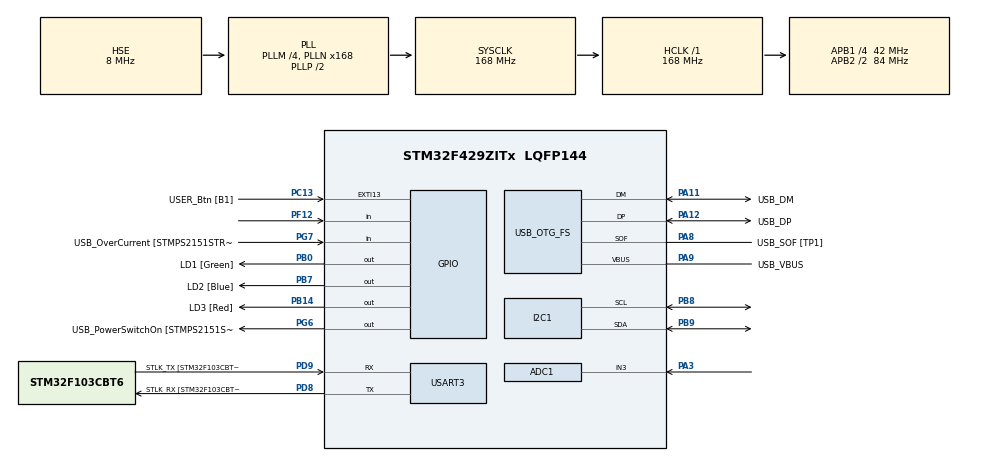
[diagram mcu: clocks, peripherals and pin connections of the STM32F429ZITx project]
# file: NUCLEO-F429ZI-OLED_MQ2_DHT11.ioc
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ADC1.Channel-0\#ChannelRegularConversion=ADC_CHANNEL_3
ADC1.ContinuousConvMode=ENABLE
ADC1.NbrOfConversionFlag=1
ADC1.Rank-0\#ChannelRegularConversion=1
ADC1.SamplingTime-0\#ChannelRegularConversion=ADC_SAMPLETIME_3CYCLES
ADC1.ScanConvMode=ENABLE
ADC1.master=1
FREERTOS.Tasks01=defaultTask,24,128,StartDefaultTask,Default,NULL,Dynamic,NULL,NULL
I2C1.I2C_Mode=I2C_Fast
Mcu.Family=STM32F4
Mcu.Name=STM32F429ZITx
Mcu.Package=LQFP144
NVIC.PriorityGroup=NVIC_PRIORITYGROUP_4
NVIC.TIM1_UP_TIM10_IRQn=true\:15\:0\:false\:false\:true\:false\:false\:true\:true
NVIC.TIM2_IRQn=true\:5\:0\:false\:false\:true\:true\:true\:true\:true
NVIC.TimeBase=TIM1_UP_TIM10_IRQn
NVIC.TimeBaseIP=TIM1
PA11.GPIO_Label=USB_DM
PA11.Mode=Device_Only
PA11.Signal=USB_OTG_FS_DM
PA12.GPIO_Label=USB_DP
PA12.Mode=Device_Only
PA12.Signal=USB_OTG_FS_DP
PA13.GPIO_Label=TMS
PA13.Mode=Serial_Wire
PA13.Signal=SYS_JTMS-SWDIO
PA14.GPIO_Label=TCK
PA14.Mode=Serial_Wire
PA14.Signal=SYS_JTCK-SWCLK
PA3.Signal=ADCx_IN3
PA8.GPIO_Label=USB_SOF [TP1]
PA8.Mode=Activate_SOF_FS
PA8.Signal=USB_OTG_FS_SOF
PA9.GPIO_Label=USB_VBUS
PA9.Mode=Activate_VBUS
PA9.Signal=USB_OTG_FS_VBUS
PB0.GPIO_Label=LD1 [Green]
PB0.Signal=GPIO_Output
PB14.GPIO_Label=LD3 [Red]
PB14.Signal=GPIO_Output
PB7.GPIO_Label=LD2 [Blue]
PB7.Signal=GPIO_Output
PB8.Mode=I2C
PB8.Signal=I2C1_SCL
PB9.Mode=I2C
PB9.Signal=I2C1_SDA
PC13.GPIO_Label=USER_Btn [B1]
PC13.Signal=GPXTI13
PC14/OSC32_IN.Mode=LSE-External-Oscillator
PC14/OSC32_IN.Signal=RCC_OSC32_IN
PC15/OSC32_OUT.Mode=LSE-External-Oscillator
PC15/OSC32_OUT.Signal=RCC_OSC32_OUT
PD8.GPIO_Label=STLK_RX [STM32F103CBT6_PA3]
PD8.Mode=Asynchronous
PD8.Signal=USART3_TX
PD9.GPIO_Label=STLK_TX [STM32F103CBT6_PA2]
PD9.Mode=Asynchronous
PD9.Signal=USART3_RX
PF12.Signal=GPIO_Input
PG6.GPIO_Label=USB_PowerSwitchOn [STMPS2151STR_EN]
PG6.Signal=GPIO_Output
PG7.GPIO_Label=USB_OverCurrent [STMPS2151STR_FAULT]
PG7.Signal=GPIO_Input
PH0/OSC_IN.GPIO_Label=MCO [STM32F103CBT6_PA8]
PH0/OSC_IN.Mode=HSE-External-Oscillator
PH0/OSC_IN.Signal=RCC_OSC_IN
PH1/OSC_OUT.Mode=HSE-External-Oscillator
PH1/OSC_OUT.Signal=RCC_OSC_OUT
ProjectManager.HeapSize=0x200
ProjectManager.StackSize=0x400
ProjectManager.TargetToolchain=MDK-ARM V5.32
RCC.48MHZClocksFreq_Value=48000000
RCC.AHBFreq_Value=168000000
RCC.APB1CLKDivider=RCC_HCLK_DIV4
RCC.APB1Freq_Value=42000000
RCC.APB1TimFreq_Value=84000000
RCC.APB2CLKDivider=RCC_HCLK_DIV2
RCC.APB2Freq_Value=84000000
RCC.APB2TimCLKDivider=2
RCC.APB2TimFreq_Value=168000000
RCC.CortexFreq_Value=168000000
RCC.HCLKFreq_Value=168000000
RCC.HSE_VALUE=8000000
RCC.HSI_VALUE=16000000
RCC.PLLM=4
RCC.PLLMUL=RCC_PLL_MUL9
RCC.PLLN=168
RCC.PLLQ=7
RCC.PRESCALERUSB=RCC_USBCLKSOURCE_PLL_DIV1_5
RCC.SYSCLKFreq_VALUE=168000000
RCC.SYSCLKSource=RCC_SYSCLKSOURCE_PLLCLK
RCC.SYSCLKSourceVirtual=RCC_SYSCLKSOURCE_PLLCLK
RCC.USBFreq_Value=48000000
RCC.VCOOutputFreq_Value=336000000
SH.ADCx_IN3.0=ADC1_IN3,IN3
TIM2.Prescaler=83
USART3.VirtualMode=VM_ASYNC
USB_OTG_FS.VirtualMode=Device_Only
VP_FREERTOS_VS_CMSIS_V2.Mode=CMSIS_V2
VP_SYS_VS_tim1.Mode=TIM1
VP_TIM2_VS_ClockSourceINT.Mode=Internal
board=NUCLEO-F429ZI

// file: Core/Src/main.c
/* USER CODE BEGIN Header */
/**
  ******************************************************************************
  * @file           : main.c
  * @brief          : Main program body
  ******************************************************************************
  * @attention
  *
  * Copyright (c) 2023 STMicroelectronics.
  * All rights reserved.
  *
  * This software is licensed under terms that can be found in the LICENSE file
  * in the root directory of this software component.
  * If no LICENSE file comes with this software, it is provided AS-IS.
  *
  ******************************************************************************
  */
/* USER CODE END Header */
#include "main.h"
#include "cmsis_os.h"
#include "adc.h"
#include "i2c.h"
#include "tim.h"
#include "usart.h"
#include "usb_otg.h"
#include "gpio.h"

/* USER CODE BEGIN Includes */
#include "FreeRTOS.h"
#include "queue.h"
#include "semphr.h"
#include "task.h"
#include "oled.h"
#include "u8g2.h"
//#include "stdlib.h"
#include "stdio.h"
#include "MQ2.h"
/* USER CODE END Includes */

/* USER CODE BEGIN PD */
#define DHT11_PORT GPIOF
#define DHT11_PIN GPIO_PIN_12
/* USER CODE END PD */

/* USER CODE BEGIN PV */
QueueHandle_t queueTemp;
QueueHandle_t queueHumi;
QueueHandle_t queueMQ2LPG;
QueueHandle_t queueMQ2CO;
QueueHandle_t queueMQ2SMOKE;
SemaphoreHandle_t xMutex;
SemaphoreHandle_t xSem;
TaskHandle_t handleOled;
TaskHandle_t handleDHT11;
TaskHandle_t handleMQ2;
TaskHandle_t handleBlank;
u8g2_t u8g2;

/* USER CODE END PV */

void SystemClock_Config(void);
void MX_FREERTOS_Init(void);

/* USER CODE BEGIN 0 */

void delayMicroSecond(uint32_t time){
	__HAL_TIM_SET_COUNTER(&htim2, 0);//set counter 0
	__HAL_TIM_ENABLE(&htim2);//start counter
	while(__HAL_TIM_GET_COUNTER(&htim2) < time){
	}
	__HAL_TIM_DISABLE(&htim2);//close counter
}

void setPinOutput(GPIO_TypeDef *GPIOx, uint16_t GPIO_PIN){
	GPIO_InitTypeDef GPIO_InitStruct;
	GPIO_InitStruct.Pin = GPIO_PIN;
	GPIO_InitStruct.Mode = GPIO_MODE_OUTPUT_OD;
	GPIO_InitStruct.Speed = GPIO_SPEED_FREQ_HIGH;
	HAL_GPIO_Init(GPIOx, &GPIO_InitStruct);
}

void setPinInput(GPIO_TypeDef *GPIOx, uint16_t GPIO_PIN){
	GPIO_InitTypeDef GPIO_InitStruct;
	GPIO_InitStruct.Pin = GPIO_PIN;
	GPIO_InitStruct.Mode = GPIO_MODE_INPUT;
	GPIO_InitStruct.Pull = GPIO_PULLUP;
	HAL_GPIO_Init(GPIOx, &GPIO_InitStruct);
}

uint8_t dht11RstCheck(){
	uint8_t timer = 0;
	setPinOutput(DHT11_PORT, DHT11_PIN);
	HAL_GPIO_WritePin(DHT11_PORT, DHT11_PIN, GPIO_PIN_RESET);
	delayMicroSecond(20000);
	HAL_GPIO_WritePin(DHT11_PORT, DHT11_PIN, GPIO_PIN_SET);
	delayMicroSecond(30);
	setPinInput(DHT11_PORT, DHT11_PIN);

	while(!HAL_GPIO_ReadPin(DHT11_PORT, DHT11_PIN)){
		timer ++;
		delayMicroSecond(1);
	}
	if(timer > 100 || timer < 20){
		return 0;
	}

	timer = 0;
	while(HAL_GPIO_ReadPin(DHT11_PORT, DHT11_PIN)){
		timer ++;
		delayMicroSecond(1);
	}
	if(timer >100 || timer < 20){
		return 0;
	}

	return 1;
}

uint8_t DHT11ReadByte(){
	uint8_t byte;
	for(int i = 0; i < 8;i ++){
		while(HAL_GPIO_ReadPin(DHT11_PORT, DHT11_PIN));
		while(!HAL_GPIO_ReadPin(DHT11_PORT, DHT11_PIN));

		delayMicroSecond(40);
		byte <<= 1;
		if(HAL_GPIO_ReadPin(DHT11_PORT, DHT11_PIN)){
			byte |= 0x01;
		}
	}
	return byte;
}

uint8_t DHT11GetData(float *Humi, float *Temp){
	int8_t sta = 0;
	uint8_t buffer[5];
	if(dht11RstCheck()){
		for(int i = 0; i< 5 ;i++){
			buffer[i] = DHT11ReadByte();

		}
		if(buffer[0] + buffer[1] + buffer[2] + buffer[3] == buffer[4]){
			uint8_t humiInt = buffer[0];
			uint8_t humiFloat = buffer[1];
			uint8_t tempInt = buffer[2];
			uint8_t tempFloat = buffer[3];
			char tmpHumi[8];
			char tmpTemp[8];
			snprintf(tmpHumi, 8 , "%d.%d",humiInt, humiFloat);
			snprintf(tmpTemp, 8, "%d.%d", tempInt, tempFloat);
			sscanf(tmpHumi, "%f", Humi);
			sscanf(tmpTemp, "%f", Temp);
		}
		sta = 0;
	}
	else
	{
		*Humi = 99;
		*Temp = 99;
		sta = -1;
	}
	return sta;
}
void taskOledControll(void *pvParm){
	uint8_t rstCounter = 0;
	u8g2Init(&u8g2);
	u8g2_ClearBuffer(&u8g2);
	u8g2_ClearDisplay(&u8g2);
	u8g2_SetFont(&u8g2,u8g2_font_squeezed_b6_tr);
	u8g2_DrawStr(&u8g2, 0, 10,"Waiting");
	u8g2_DrawStr(&u8g2, 0, 20, "DHT11 Response");
	u8g2_SendBuffer(&u8g2);
	for(;;){
		HAL_GPIO_WritePin(GPIOB, LD2_Pin, 0);//pb7
		HAL_GPIO_WritePin(GPIOB, LD1_Pin, 1);//pb0
		u8g2_ClearBuffer(&u8g2);
		float Temp = 0;
		float Humi = 0;
		char strTemp[32];
		char strHumi[32];
		char strMemOled[32];
		char strLPG[32],strCO[32],strSMOKE[32];
		int LPG,CO,SMOKE=0;
//		BaseType_t receiveHumi = xQueueReceive(queueHumi, &Humi, pdMS_TO_TICKS(3000));
//		BaseType_t receiveTemp = xQueueReceive(queueTemp, &Temp, pdMS_TO_TICKS(3000));
		if(((xQueueReceive(queueHumi, &Humi, pdMS_TO_TICKS(3000)) == pdPASS) && (xQueueReceive(queueTemp, &Temp, pdMS_TO_TICKS(3000)) == pdPASS))){
			rstCounter = 0;
			snprintf(strTemp, 32, "Temp:%.1f C", Temp);
			snprintf(strHumi, 32, "Humi:%.1f %%", Humi);
			u8g2_DrawStr(&u8g2, 0, 10,strTemp);
			u8g2_DrawStr(&u8g2, 0, 20, strHumi);
			//u8g2_DrawStr(&u8g2, 0, 30, );
			//uxTaskGetStackHighWaterMark(handleOled) >> ?task??????????????
			UBaseType_t memOled = 512 - uxTaskGetStackHighWaterMark(handleOled);
			snprintf(strMemOled, 32, "useMemOled:%lu", memOled);
			u8g2_DrawStr(&u8g2, 0, 30, strMemOled);
			u8g2_SendBuffer(&u8g2);
		}
		else{
			taskYIELD();//queue ?????,??????
		}
		if((xQueueReceive(queueMQ2LPG, &LPG, pdMS_TO_TICKS(3000))==pdPASS && xQueueReceive(queueMQ2CO, &CO, pdMS_TO_TICKS(3000))==pdPASS &&xQueueReceive(queueMQ2SMOKE, &SMOKE, pdMS_TO_TICKS(3000))==pdPASS)){
		snprintf(strLPG, 32, "LPG:%d PPM", LPG);
		snprintf(strCO, 32, "CO:%d PPM", CO);
		snprintf(strSMOKE, 32, "SMOKE:%d PPM", SMOKE);

		u8g2_DrawStr(&u8g2, 0, 40, strLPG);
		u8g2_DrawStr(&u8g2, 0, 50, strCO);
		u8g2_DrawStr(&u8g2, 0, 60, strSMOKE);
		u8g2_SendBuffer(&u8g2);
		}
		else{
			taskYIELD();//queue ?????,??????
		}
		vTaskDelay(100);
	}
}

void taskDHT11(void *pvParm){
	for(;;){
		HAL_GPIO_WritePin(GPIOB, LD2_Pin, 1);
		HAL_GPIO_WritePin(GPIOB, LD1_Pin, 0);
		float Temp = 0;
		float Humi = 0;
		HAL_GPIO_TogglePin(GPIOB,LD3_Pin);
		xSemaphoreTake(xSem, portMAX_DELAY);
		DHT11GetData(&Humi, &Temp);

		HAL_GPIO_TogglePin(GPIOB,LD3_Pin);
		//??semaphore????code
//		xSemaphoreTake(xSem, portMAX_DELAY);
//		HAL_GPIO_WritePin(GPIOB,LD3_Pin, 1);
//		vTaskDelay(3000);
//		HAL_GPIO_WritePin(GPIOB,LD3_Pin, 0);
//		xSemaphoreGive(xSem);
		xQueueSend(queueTemp, &Temp, portMAX_DELAY);
		xQueueSend(queueHumi, &Humi, portMAX_DELAY);
		vTaskDelay(1000);
		xSemaphoreGive(xSem);
	}

}
void taskBlank(void *pvParm){

	uint8_t counter = 0;
	for(;;){
		counter ++;
		if(counter < 10){
			HAL_GPIO_TogglePin(GPIOB, LD3_Pin);
		}
		else{
			vTaskSuspend(handleBlank);
		}
		vTaskDelay(500);
	}
}
void taskMQ2(void *pvParm){
	for(;;){
	HAL_ADC_Start(&hadc1);
	int LPG,CO,SMOKE=0;
	LPG=MQGetGasPercentage(MQRead()/Ro,GAS_LPG);//PPM ro=10
	xQueueSend(queueMQ2LPG, &LPG, portMAX_DELAY);
	CO=MQGetGasPercentage(MQRead()/Ro,GAS_CO);//PPM ro=10
	xQueueSend(queueMQ2CO, &CO, portMAX_DELAY);
	SMOKE=MQGetGasPercentage(MQRead()/Ro,GAS_SMOKE);//PPM ro=10
	xQueueSend(queueMQ2SMOKE, &SMOKE, portMAX_DELAY);
	vTaskDelay(1000);
	xSemaphoreGive(xSem);}
}
/* USER CODE END 0 */

int main(void)
{

  /* MCU Configuration--------------------------------------------------------*/

  /* Reset of all peripherals, Initializes the Flash interface and the Systick. */
  HAL_Init();

  /* Configure the system clock */
  SystemClock_Config();

  /* Initialize all configured peripherals */
  MX_GPIO_Init();
  MX_I2C1_Init();
  MX_TIM2_Init();
  MX_USART3_UART_Init();
  MX_USB_OTG_FS_PCD_Init();
  MX_ADC1_Init();
  /* USER CODE BEGIN 2 */
	queueTemp = xQueueCreate(5, 4);
	queueHumi = xQueueCreate(5, 4);
	queueMQ2CO = xQueueCreate(5, 4);
	queueMQ2LPG = xQueueCreate(5, 4);
	queueMQ2SMOKE = xQueueCreate(5, 4);
	xMutex = xSemaphoreCreateMutex();
	xSem = xSemaphoreCreateBinary();
	xTaskCreate(taskOledControll, "display", 512, NULL, 1, &handleOled);
	xTaskCreate(taskDHT11, "sensorDHT11", 1200, NULL, 2, &handleDHT11);
	xTaskCreate(taskMQ2, "sensorMQ2", 1200, NULL, 3, &handleMQ2);
	xSemaphoreGive(xSem);
	vTaskStartScheduler();
  /* USER CODE END 2 */

  /* Init scheduler */
	osKernelInitialize();  /* Call init function for freertos objects (in freertos.c) */
  MX_FREERTOS_Init();

  /* Start scheduler */
  osKernelStart();

  /* We should never get here as control is now taken by the scheduler */
  /* Infinite loop */
  /* USER CODE BEGIN WHILE */
	u8g2Init(&u8g2);
	u8g2_ClearBuffer(&u8g2);
	u8g2_ClearDisplay(&u8g2);
	u8g2_SetFont(&u8g2,u8g2_font_DigitalDiscoThin_tf);
	int count = 0;
  while (1)
  {
		count ++;
		float Temp = 0;
		float Humi = 0;
		char strTemp[32];
		char strHumi[32];
		DHT11GetData(&Humi, &Temp);
		snprintf(strTemp, 32, "Temp:%.2f C", Temp);
		snprintf(strHumi, 32, "Humi:%.2f %%", Humi);
		u8g2_ClearBuffer(&u8g2);
		u8g2_DrawStr(&u8g2, 0, 20,strTemp);
		u8g2_DrawStr(&u8g2, 0, 30, strHumi);
		u8g2_SendBuffer(&u8g2);
		uint16_t adcvalue=0;
		int LPG,CO,SMOKE=0;
		HAL_ADC_Start(&hadc1);
		adcvalue=HAL_ADC_GetValue(&hadc1);
		LPG=MQGetGasPercentage(MQRead()/Ro,GAS_LPG);//PPM ro=10
		CO=MQGetGasPercentage(MQRead()/Ro,GAS_CO);//PPM ro=10
		SMOKE=MQGetGasPercentage(MQRead()/Ro,GAS_SMOKE);//PPM ro=10
		HAL_Delay(1000);
    /* USER CODE END WHILE */

  }
}

void SystemClock_Config(void)
{
  RCC_OscInitTypeDef RCC_OscInitStruct = {0};
  RCC_ClkInitTypeDef RCC_ClkInitStruct = {0};

  /** Configure the main internal regulator output voltage
  */
  __HAL_RCC_PWR_CLK_ENABLE();
  __HAL_PWR_VOLTAGESCALING_CONFIG(PWR_REGULATOR_VOLTAGE_SCALE1);

  /** Initializes the RCC Oscillators according to the specified parameters
  * in the RCC_OscInitTypeDef structure.
  */
  RCC_OscInitStruct.OscillatorType = RCC_OSCILLATORTYPE_HSE;
  RCC_OscInitStruct.HSEState = RCC_HSE_ON;
  RCC_OscInitStruct.PLL.PLLState = RCC_PLL_ON;
  RCC_OscInitStruct.PLL.PLLSource = RCC_PLLSOURCE_HSE;
  RCC_OscInitStruct.PLL.PLLM = 4;
  RCC_OscInitStruct.PLL.PLLN = 168;
  RCC_OscInitStruct.PLL.PLLP = RCC_PLLP_DIV2;
  RCC_OscInitStruct.PLL.PLLQ = 7;
  if (HAL_RCC_OscConfig(&RCC_OscInitStruct) != HAL_OK)
  {
    Error_Handler();
  }

  /** Initializes the CPU, AHB and APB buses clocks
  */
  RCC_ClkInitStruct.ClockType = RCC_CLOCKTYPE_HCLK|RCC_CLOCKTYPE_SYSCLK
                              |RCC_CLOCKTYPE_PCLK1|RCC_CLOCKTYPE_PCLK2;
  RCC_ClkInitStruct.SYSCLKSource = RCC_SYSCLKSOURCE_PLLCLK;
  RCC_ClkInitStruct.AHBCLKDivider = RCC_SYSCLK_DIV1;
  RCC_ClkInitStruct.APB1CLKDivider = RCC_HCLK_DIV4;
  RCC_ClkInitStruct.APB2CLKDivider = RCC_HCLK_DIV2;

  if (HAL_RCC_ClockConfig(&RCC_ClkInitStruct, FLASH_LATENCY_5) != HAL_OK)
  {
    Error_Handler();
  }
}

void HAL_TIM_PeriodElapsedCallback(TIM_HandleTypeDef *htim)
{
  if (htim->Instance == TIM1) {
    HAL_IncTick();
  }
}

void Error_Handler(void)
{
  __disable_irq();
  while (1)
  {
  }
}
